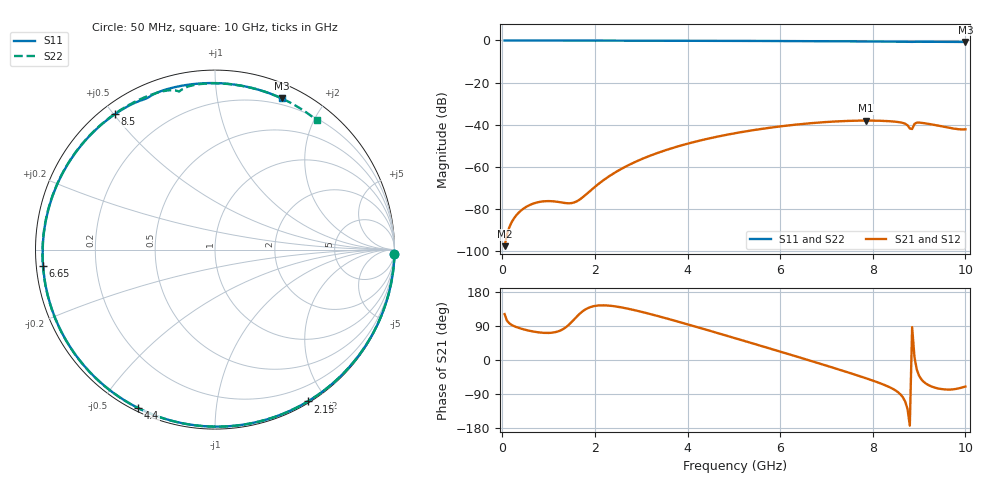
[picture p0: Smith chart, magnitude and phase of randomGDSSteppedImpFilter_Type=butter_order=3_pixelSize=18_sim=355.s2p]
! freq	dB(S11)	phase(S11)	dB(S12)	phase(S12)
!  dB(S21)	phase(S21)	dB(S22)	phase(S22)
!S-par simulation data
#  GHz  S  DB  R 50
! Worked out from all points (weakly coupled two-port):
!   200 points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, 50 MHz to 10 GHz, reference 50 ohm
!   highest |S21| = -38.05 dB at 7.85 GHz (marker M1); lowest = -97.7 dB at 50 MHz (marker M2)
!   lowest |S11| = -0.7 dB at 10 GHz (marker M3), VSWR 24.32, Z = 6.86 + j76.2 ohm
!   |S11| at or under -10 dB: nowhere
!   |S22| runs from -0.9 to 0.0 dB; largest |S21 - S12| = 0
!   S11 on the Smith chart (normalised r, x): 50 MHz: 0, -82; 2.15 GHz: 0.02, -1.78; 4.4 GHz: 0.01, -0.63; 6.65 GHz: 0.02, -0.05; 8.5 GHz: 0.04, +0.50; 10 GHz: 0.14, +1.52
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0.05  -0.00 -1.4  -97.68 121.1  -97.68 121.1  -0.00 -1.4
0.45  -0.01 -12.5  -79.97 81.2  -79.97 81.2  -0.01 -12.9
0.9  -0.03 -25.0  -76.36 71.6  -76.36 71.6  -0.03 -25.6
1.5  -0.05 -41.3  -77.20 100.5  -77.20 100.5  -0.05 -42.3
1.75  -0.06 -48.0  -74.23 129.9  -74.23 129.9  -0.06 -49.1
2.15  -0.07 -58.6  -66.92 144.3  -66.92 144.3  -0.08 -60.0
2.7  -0.09 -72.9  -59.49 135.7  -59.49 135.7  -0.10 -74.7
3.4  -0.12 -90.8  -53.05 114.6  -53.05 114.6  -0.12 -93.0
4.4  -0.17 -115.9  -46.85 80.0  -46.85 80.0  -0.17 -118.7
5.05  -0.20 -132.3  -43.95 56.7  -43.95 56.7  -0.21 -135.6
5.9  -0.27 -154.2  -41.09 25.9  -41.09 25.9  -0.27 -158.3
6.65  -0.34 -174.6  -39.31 -1.8  -39.31 -1.8  -0.34 -179.7
6.7  -0.34 -176.0  -39.22 -3.6  -39.22 -3.6  -0.35 178.8
7.3  -0.40 166.4  -38.35 -26.3  -38.35 -26.3  -0.42 160.1
7.85  -0.47 149.0  -38.05 -48.0  -38.05 -48.0  -0.48 141.4
8.35  -0.53 131.8  -38.33 -71.1  -38.33 -71.1  -0.55 122.7
8.5  -0.56 126.4  -38.60 -81.0  -38.60 -81.0  -0.57 116.7
8.7  -0.61 118.9  -39.55 -109.6  -39.55 -109.6  -0.64 108.3
8.85  -0.67 113.8  -42.06 86.7  -42.06 86.7  -0.88 102.8
8.95  -0.61 109.9  -39.01 -25.3  -39.01 -25.3  -0.71 99.4
9.3  -0.63 95.7  -39.98 -71.3  -39.98 -71.3  -0.68 83.7
10  -0.71 66.3  -42.18 -70.0  -42.18 -70.0  -0.75 51.8
